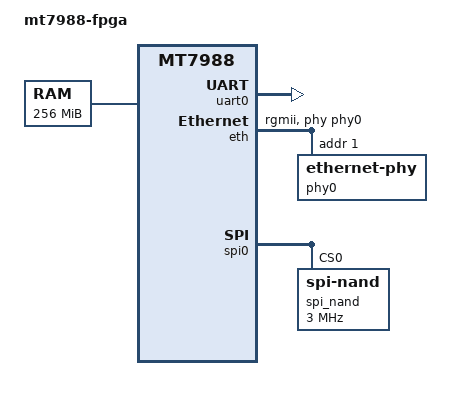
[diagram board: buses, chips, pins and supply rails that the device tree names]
// SPDX-License-Identifier: GPL-2.0
/*
 * Copyright (c) 2021 MediaTek Inc.
 * Author: Sam Shih <sam.shih@mediatek.com>
 */

/dts-v1/;
#include "mt7988-fpga.dtsi"
#include <dt-bindings/gpio/gpio.h>

/ {
	#address-cells = <1>;
	#size-cells = <1>;
	model = "mt7988-fpga";
	compatible = "mediatek,mt7988-fpga", "mediatek,mt7988";
	chosen {
		stdout-path = &uart0;
	};

	memory@40000000 {
		device_type = "memory";
		reg = <0x40000000 0x10000000>;
	};
};

&uart0 {
	status = "okay";
};

&eth {
	status = "okay";
	mediatek,gmac-id = <0>;
	phy-mode = "rgmii";
	phy-handle = <&phy0>;

	phy0: ethernet-phy@0 {
		reg = <1>;
	};
};

&spi0 {
	#address-cells = <1>;
	#size-cells = <0>;
	status = "okay";
	must_tx;
	enhance_timing;
	dma_ext;
	ipm_design;
	support_quad;
	tick_dly = <0>;
	sample_sel = <0>;

	spi_nand@0 {
		compatible = "spi-nand";
		reg = <0>;
		spi-max-frequency = <3000000>;
	};
};
